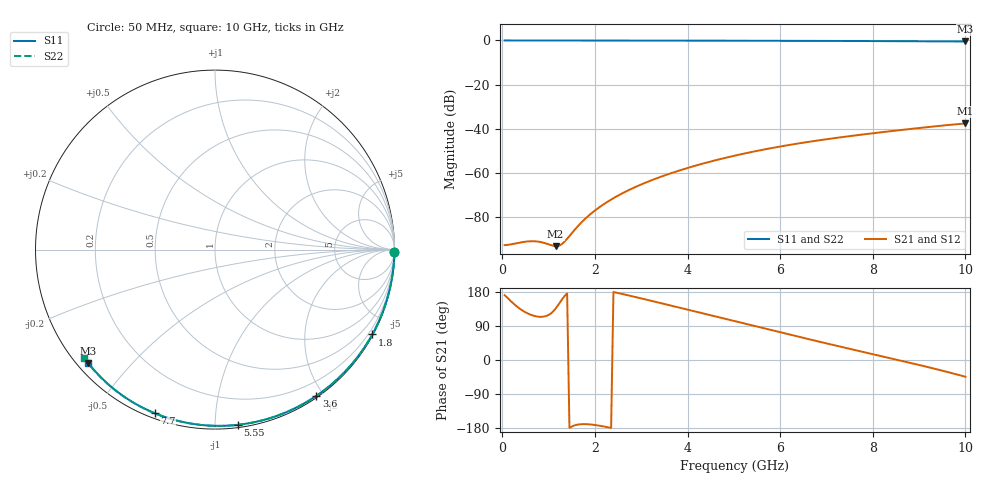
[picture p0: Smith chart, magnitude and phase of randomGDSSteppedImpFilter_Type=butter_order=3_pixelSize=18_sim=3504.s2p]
! freq	dB(S11)	phase(S11)	dB(S12)	phase(S12)
!  dB(S21)	phase(S21)	dB(S22)	phase(S22)
!S-par simulation data
#  GHz  S  DB  R 50
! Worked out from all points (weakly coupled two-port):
!   200 points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, 50 MHz to 10 GHz, reference 50 ohm
!   highest |S21| = -37.66 dB at 10 GHz (marker M1); lowest = -93.3 dB at 1.15 GHz (marker M2)
!   lowest |S11| = -0.5 dB at 10 GHz (marker M3), VSWR 37.03, Z = 1.55 - j19.1 ohm
!   |S11| at or under -10 dB: nowhere
!   |S22| runs from -0.5 to 0.0 dB; largest |S21 - S12| = 0
!   S11 on the Smith chart (normalised r, x): 50 MHz: open; 1.8 GHz: 0.03, -3.96; 3.6 GHz: 0.02, -1.91; 5.55 GHz: 0.02, -1.14; 7.7 GHz: 0.02, -0.70; 10 GHz: 0.03, -0.38
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0.05  -0.00 -0.8  -92.89 171.0  -92.89 171.0  -0.00 -0.8
0.6  -0.01 -9.6  -91.12 120.1  -91.12 120.1  -0.01 -9.7
1.15  -0.02 -18.2  -93.35 135.5  -93.35 135.5  -0.02 -18.5
1.75  -0.04 -27.6  -81.72 -169.2  -81.72 -169.2  -0.04 -28.0
1.8  -0.04 -28.3  -80.72 -169.2  -80.72 -169.2  -0.04 -28.8
1.85  -0.04 -29.1  -79.77 -169.5  -79.77 -169.5  -0.04 -29.6
2  -0.04 -31.4  -77.18 -171.5  -77.18 -171.5  -0.04 -31.9
2.15  -0.04 -33.7  -74.88 -174.5  -74.88 -174.5  -0.04 -34.2
2.35  -0.05 -36.7  -72.19 -179.3  -72.19 -179.3  -0.05 -37.3
2.55  -0.05 -39.8  -69.83 175.4  -69.83 175.4  -0.05 -40.4
2.95  -0.06 -45.8  -65.79 164.0  -65.79 164.0  -0.06 -46.5
3.4  -0.07 -52.4  -62.03 150.8  -62.03 150.8  -0.07 -53.2
3.6  -0.07 -55.3  -60.55 144.9  -60.55 144.9  -0.08 -56.2
4.3  -0.09 -65.4  -56.05 124.0  -56.05 124.0  -0.09 -66.4
5.05  -0.12 -75.8  -52.13 101.6  -52.13 101.6  -0.12 -76.9
5.55  -0.14 -82.5  -49.90 86.6  -49.90 86.6  -0.14 -83.8
6.1  -0.16 -89.8  -47.76 70.2  -47.76 70.2  -0.16 -91.2
6.7  -0.19 -97.6  -45.73 52.5  -45.73 52.5  -0.19 -99.1
7.7  -0.25 -110.2  -42.88 23.9  -42.88 23.9  -0.26 -111.8
8.35  -0.30 -118.2  -41.25 5.6  -41.25 5.6  -0.31 -119.9
9.2  -0.38 -128.5  -39.29 -19.0  -39.29 -19.0  -0.39 -130.4
10  -0.47 -138.1  -37.66 -44.2  -37.66 -44.2  -0.47 -140.2
